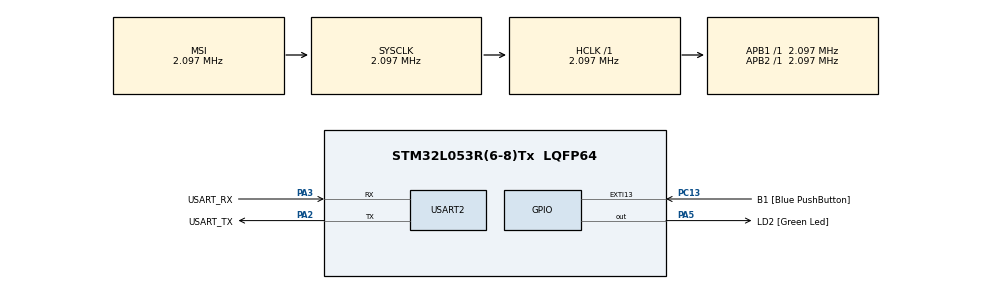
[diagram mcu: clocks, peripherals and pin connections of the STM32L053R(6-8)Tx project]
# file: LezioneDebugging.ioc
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Mcu.Family=STM32L0
Mcu.Name=STM32L053R(6-8)Tx
Mcu.Package=LQFP64
PA13.GPIO_Label=TMS
PA13.Mode=Serial_Wire
PA13.Signal=SYS_SWDIO
PA14.GPIO_Label=TCK
PA14.Mode=Serial_Wire
PA14.Signal=SYS_SWCLK
PA2.GPIO_Label=USART_TX
PA2.Mode=Asynchronous
PA2.Signal=USART2_TX
PA3.GPIO_Label=USART_RX
PA3.Mode=Asynchronous
PA3.Signal=USART2_RX
PA5.GPIO_Label=LD2 [Green Led]
PA5.Signal=GPIO_Output
PC13.GPIO_Label=B1 [Blue PushButton]
PC13.GPIO_ModeDefaultEXTI=GPIO_MODE_IT_FALLING
PC13.Signal=GPXTI13
PC14-OSC32_IN.Mode=LSE-External-Oscillator
PC14-OSC32_IN.Signal=RCC_OSC32_IN
PC15-OSC32_OUT.Mode=LSE-External-Oscillator
PC15-OSC32_OUT.Signal=RCC_OSC32_OUT
PH0-OSC_IN.Mode=HSE-External-Clock-Source
PH0-OSC_IN.Signal=RCC_OSC_IN
PH1-OSC_OUT.Signal=RCC_OSC_OUT
ProjectManager.HeapSize=0x200
ProjectManager.StackSize=0x400
ProjectManager.TargetToolchain=STM32CubeIDE
RCC.AHBFreq_Value=2097000
RCC.APB1Freq_Value=2097000
RCC.APB1TimFreq_Value=2097000
RCC.APB2Freq_Value=2097000
RCC.APB2TimFreq_Value=2097000
RCC.HSE_VALUE=8000000
RCC.HSI16_VALUE=16000000
RCC.HSI48_VALUE=48000000
RCC.HSI_VALUE=16000000
RCC.MSI_VALUE=2097000
RCC.SYSCLKFreq_VALUE=2097000
RCC.VCOOutputFreq_Value=48000000
USART2.VirtualMode-Asynchronous=VM_ASYNC
board=NUCLEO-L053R8

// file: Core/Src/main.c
/* USER CODE BEGIN Header */
/**
  ******************************************************************************
  * @file           : main.c
  * @brief          : Main program body
  ******************************************************************************
  * @attention
  *
  * Copyright (c) 2022 STMicroelectronics.
  * All rights reserved.
  *
  * This software is licensed under terms that can be found in the LICENSE file
  * in the root directory of this software component.
  * If no LICENSE file comes with this software, it is provided AS-IS.
  *
  ******************************************************************************
  */
/* USER CODE END Header */
#include "main.h"

 UART_HandleTypeDef huart2;

void SystemClock_Config(void);
static void MX_GPIO_Init(void);
static void MX_USART2_UART_Init(void);
/* USER CODE BEGIN PFP */
void exercise1(void);
void exercise2(void);
void example_break(void);
void example_watchpoint(void);
void example_variables(void);
void example_expressions(void);
void example_memory(void);
/* USER CODE END PFP */

int main(void)
{

  /* MCU Configuration--------------------------------------------------------*/

  /* Reset of all peripherals, Initializes the Flash interface and the Systick. */
  HAL_Init();

  /* Configure the system clock */
  SystemClock_Config();

  /* Initialize all configured peripherals */
  MX_GPIO_Init();
  MX_USART2_UART_Init();
  /* USER CODE BEGIN 2 */
  int simple_variable = 3;
  int simple_array[5] = {1,2,3,4,5};
  int *simple_pointer = &simple_array;

  simple_variable = 4;

  example_break();
  example_variables();
  example_watchpoint();
  example_expressions();
  example_memory();

  //exercise1();
  //exercise2();
  /* USER CODE END 2 */

  /* Infinite loop */
  while (1)
  {

    /* USER CODE BEGIN 3 */
	  HAL_GPIO_TogglePin(LD2_GPIO_Port, LD2_Pin);
  }
  /* USER CODE END 3 */
}

void SystemClock_Config(void)
{
  RCC_OscInitTypeDef RCC_OscInitStruct = {0};
  RCC_ClkInitTypeDef RCC_ClkInitStruct = {0};
  RCC_PeriphCLKInitTypeDef PeriphClkInit = {0};

  /** Configure the main internal regulator output voltage
  */
  __HAL_PWR_VOLTAGESCALING_CONFIG(PWR_REGULATOR_VOLTAGE_SCALE1);

  /** Initializes the RCC Oscillators according to the specified parameters
  * in the RCC_OscInitTypeDef structure.
  */
  RCC_OscInitStruct.OscillatorType = RCC_OSCILLATORTYPE_MSI;
  RCC_OscInitStruct.MSIState = RCC_MSI_ON;
  RCC_OscInitStruct.MSICalibrationValue = 0;
  RCC_OscInitStruct.MSIClockRange = RCC_MSIRANGE_5;
  RCC_OscInitStruct.PLL.PLLState = RCC_PLL_NONE;
  if (HAL_RCC_OscConfig(&RCC_OscInitStruct) != HAL_OK)
  {
    Error_Handler();
  }

  /** Initializes the CPU, AHB and APB buses clocks
  */
  RCC_ClkInitStruct.ClockType = RCC_CLOCKTYPE_HCLK|RCC_CLOCKTYPE_SYSCLK
                              |RCC_CLOCKTYPE_PCLK1|RCC_CLOCKTYPE_PCLK2;
  RCC_ClkInitStruct.SYSCLKSource = RCC_SYSCLKSOURCE_MSI;
  RCC_ClkInitStruct.AHBCLKDivider = RCC_SYSCLK_DIV1;
  RCC_ClkInitStruct.APB1CLKDivider = RCC_HCLK_DIV1;
  RCC_ClkInitStruct.APB2CLKDivider = RCC_HCLK_DIV1;

  if (HAL_RCC_ClockConfig(&RCC_ClkInitStruct, FLASH_LATENCY_0) != HAL_OK)
  {
    Error_Handler();
  }
  PeriphClkInit.PeriphClockSelection = RCC_PERIPHCLK_USART2;
  PeriphClkInit.Usart2ClockSelection = RCC_USART2CLKSOURCE_PCLK1;
  if (HAL_RCCEx_PeriphCLKConfig(&PeriphClkInit) != HAL_OK)
  {
    Error_Handler();
  }
}

static void MX_USART2_UART_Init(void)
{

  huart2.Instance = USART2;
  huart2.Init.BaudRate = 115200;
  huart2.Init.WordLength = UART_WORDLENGTH_8B;
  huart2.Init.StopBits = UART_STOPBITS_1;
  huart2.Init.Parity = UART_PARITY_NONE;
  huart2.Init.Mode = UART_MODE_TX_RX;
  huart2.Init.HwFlowCtl = UART_HWCONTROL_NONE;
  huart2.Init.OverSampling = UART_OVERSAMPLING_16;
  huart2.Init.OneBitSampling = UART_ONE_BIT_SAMPLE_DISABLE;
  huart2.AdvancedInit.AdvFeatureInit = UART_ADVFEATURE_NO_INIT;
  if (HAL_UART_Init(&huart2) != HAL_OK)
  {
    Error_Handler();
  }

}

static void MX_GPIO_Init(void)
{
  GPIO_InitTypeDef GPIO_InitStruct = {0};

  /* GPIO Ports Clock Enable */
  __HAL_RCC_GPIOC_CLK_ENABLE();
  __HAL_RCC_GPIOH_CLK_ENABLE();
  __HAL_RCC_GPIOA_CLK_ENABLE();

  /*Configure GPIO pin Output Level */
  HAL_GPIO_WritePin(GPIOA, GPIO_PIN_5, GPIO_PIN_RESET);

  /*Configure GPIO pin : PC13 */
  GPIO_InitStruct.Pin = GPIO_PIN_13;
  GPIO_InitStruct.Mode = GPIO_MODE_IT_FALLING;
  GPIO_InitStruct.Pull = GPIO_NOPULL;
  HAL_GPIO_Init(GPIOC, &GPIO_InitStruct);

  /*Configure GPIO pin : PA5 */
  GPIO_InitStruct.Pin = GPIO_PIN_5;
  GPIO_InitStruct.Mode = GPIO_MODE_OUTPUT_PP;
  GPIO_InitStruct.Pull = GPIO_NOPULL;
  GPIO_InitStruct.Speed = GPIO_SPEED_FREQ_LOW;
  HAL_GPIO_Init(GPIOA, &GPIO_InitStruct);

}

void Error_Handler(void)
{
  __disable_irq();
  while (1)
  {
  }
}

#ifdef  USE_FULL_ASSERT
/**
  * @brief  Reports the name of the source file and the source line number
  *         where the assert_param error has occurred.
  * @param  file: pointer to the source file name
  * @param  line: assert_param error line source number
  * @retval None
  */
void assert_failed(uint8_t *file, uint32_t line)
{
  /* USER CODE BEGIN 6 */
  /* User can add his own implementation to report the file name and line number,
     ex: printf("Wrong parameters value: file %s on line %d\r\n", file, line) */
	asm("bkpt #0");
  /* USER CODE END 6 */
}
#endif /* USE_FULL_ASSERT */
